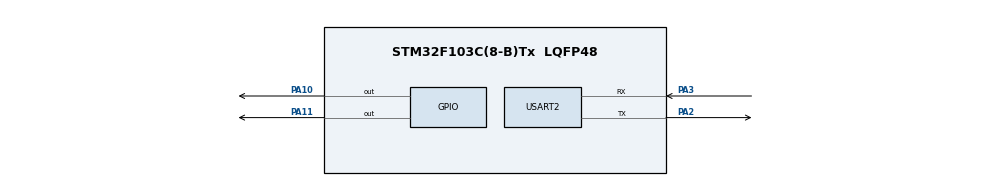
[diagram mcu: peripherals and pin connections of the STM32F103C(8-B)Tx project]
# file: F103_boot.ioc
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IWDG.Prescaler=IWDG_PRESCALER_64
Mcu.Family=STM32F1
Mcu.Name=STM32F103C(8-B)Tx
Mcu.Package=LQFP48
NVIC.PriorityGroup=NVIC_PRIORITYGROUP_4
PA10.Signal=GPIO_Output
PA11.Signal=GPIO_Output
PA13.Mode=Serial_Wire
PA13.Signal=SYS_JTMS-SWDIO
PA14.Mode=Serial_Wire
PA14.Signal=SYS_JTCK-SWCLK
PA2.Mode=Asynchronous
PA2.Signal=USART2_TX
PA3.Mode=Asynchronous
PA3.Signal=USART2_RX
PD0-OSC_IN.Mode=HSE-External-Oscillator
PD0-OSC_IN.Signal=RCC_OSC_IN
PD1-OSC_OUT.Mode=HSE-External-Oscillator
PD1-OSC_OUT.Signal=RCC_OSC_OUT
ProjectManager.HeapSize=0x200
ProjectManager.StackSize=0x400
ProjectManager.TargetToolchain=STM32CubeIDE
RCC.APB1Freq_Value=8000000
RCC.APB2Freq_Value=8000000
USART2.VirtualMode=VM_ASYNC
VP_IWDG_VS_IWDG.Mode=IWDG_Activate
board=custom

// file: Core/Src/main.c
/* USER CODE BEGIN Header */
/**
  ******************************************************************************
  * @file           : main.c
  * @brief          : Main program body
  ******************************************************************************
  * @attention
  *
  * Copyright (c) 2026 STMicroelectronics.
  * All rights reserved.
  *
  * This software is licensed under terms that can be found in the LICENSE file
  * in the root directory of this software component.
  * If no LICENSE file comes with this software, it is provided AS-IS.
  *
  ******************************************************************************
  */
/* USER CODE END Header */
#include "main.h"

IWDG_HandleTypeDef hiwdg;

UART_HandleTypeDef huart2;

void SystemClock_Config(void);
static void MX_GPIO_Init(void);
static void MX_USART2_UART_Init(void);
static void MX_IWDG_Init(void);

int main(void)
{

  /* MCU Configuration--------------------------------------------------------*/

  /* Reset of all peripherals, Initializes the Flash interface and the Systick. */
  HAL_Init();

  /* Configure the system clock */
  SystemClock_Config();

  /* Initialize all configured peripherals */
  MX_GPIO_Init();
  MX_USART2_UART_Init();

  /* USER CODE BEGIN 2 */

#if 1
  //promtping message whether to update the firmware or not
  uint8_t update=0;
  HAL_UART_Transmit(&huart2, (uint8_t*)"Press U to enter firmware update mode withing 3 sec for update\r\n"
		  	  	  	  , strlen("Press U to enter firmware update mode withing 3 sec for update\r\n"), 100);

  if(HAL_UART_Receive(&huart2, &update, 1, 3000)==HAL_OK)
  {
	  MX_IWDG_Init();
	  HAL_IWDG_Refresh(&hiwdg);
	  if(update=='U'||update=='u')
	  {
		  HAL_UART_Transmit(&huart2, (uint8_t*)"UPDATE MODE\r\n", strlen("UPDATE MODE\r\n"), 100);
		  Bootloader_UpdateMode();
	  }
  }

  HAL_UART_Transmit(&huart2, (uint8_t*)"veryfing application ... \r\n", strlen("veryfing application ... \r\n"), 100);

   int app_status = bootloader_is_app_valid();

   if (app_status == 0)
   {
       HAL_UART_Transmit(&huart2, (uint8_t*)"APPLICATION VALID - JUMPING\r\n", strlen("APPLICATION VALID - JUMPING\r\n"), 100);
       JumpToApplication();
   }
   else
   {
       char msg[60];
       sprintf(msg, "NO VALID APPLICATION (code %d) - staying in bootloader\r\n", app_status);
       HAL_UART_Transmit(&huart2, (uint8_t*)msg, strlen(msg), 100);
   }

//
//  HAL_UART_Transmit(&huart2, (uint8_t*)"veryfing application ... \r\n", strlen("veryfing application ... \r\n"), 100);
//  JumpToApplication();

#endif

  /* USER CODE END 2 */

  /* Infinite loop */
  /* USER CODE BEGIN WHILE */
  while (1)
  {
	  if (hiwdg.Instance != NULL)
	  	  {
		      HAL_IWDG_Refresh(&hiwdg);
		  }

	  HAL_GPIO_TogglePin(GPIOA, GPIO_PIN_10);
	  HAL_Delay(1000);
    /* USER CODE END WHILE */

  }
}

void SystemClock_Config(void)
{
  RCC_OscInitTypeDef RCC_OscInitStruct = {0};
  RCC_ClkInitTypeDef RCC_ClkInitStruct = {0};

  /** Initializes the RCC Oscillators according to the specified parameters
  * in the RCC_OscInitTypeDef structure.
  */
  RCC_OscInitStruct.OscillatorType = RCC_OSCILLATORTYPE_HSI|RCC_OSCILLATORTYPE_LSI;
  RCC_OscInitStruct.HSIState = RCC_HSI_ON;
  RCC_OscInitStruct.HSICalibrationValue = RCC_HSICALIBRATION_DEFAULT;
  RCC_OscInitStruct.LSIState = RCC_LSI_ON;
  RCC_OscInitStruct.PLL.PLLState = RCC_PLL_NONE;
  if (HAL_RCC_OscConfig(&RCC_OscInitStruct) != HAL_OK)
  {
    Error_Handler();
  }

  /** Initializes the CPU, AHB and APB buses clocks
  */
  RCC_ClkInitStruct.ClockType = RCC_CLOCKTYPE_HCLK|RCC_CLOCKTYPE_SYSCLK
                              |RCC_CLOCKTYPE_PCLK1|RCC_CLOCKTYPE_PCLK2;
  RCC_ClkInitStruct.SYSCLKSource = RCC_SYSCLKSOURCE_HSI;
  RCC_ClkInitStruct.AHBCLKDivider = RCC_SYSCLK_DIV1;
  RCC_ClkInitStruct.APB1CLKDivider = RCC_HCLK_DIV1;
  RCC_ClkInitStruct.APB2CLKDivider = RCC_HCLK_DIV1;

  if (HAL_RCC_ClockConfig(&RCC_ClkInitStruct, FLASH_LATENCY_0) != HAL_OK)
  {
    Error_Handler();
  }
}

static void MX_IWDG_Init(void)
{

  hiwdg.Instance = IWDG;
  hiwdg.Init.Prescaler = IWDG_PRESCALER_64;
  hiwdg.Init.Reload = 4095;
  if (HAL_IWDG_Init(&hiwdg) != HAL_OK)
  {
    Error_Handler();
  }

}

static void MX_USART2_UART_Init(void)
{

  huart2.Instance = USART2;
  huart2.Init.BaudRate = 115200;
  huart2.Init.WordLength = UART_WORDLENGTH_8B;
  huart2.Init.StopBits = UART_STOPBITS_1;
  huart2.Init.Parity = UART_PARITY_NONE;
  huart2.Init.Mode = UART_MODE_TX_RX;
  huart2.Init.HwFlowCtl = UART_HWCONTROL_NONE;
  huart2.Init.OverSampling = UART_OVERSAMPLING_16;
  if (HAL_UART_Init(&huart2) != HAL_OK)
  {
    Error_Handler();
  }

}

static void MX_GPIO_Init(void)
{
  GPIO_InitTypeDef GPIO_InitStruct = {0};

  /* GPIO Ports Clock Enable */
  __HAL_RCC_GPIOD_CLK_ENABLE();
  __HAL_RCC_GPIOA_CLK_ENABLE();

  /*Configure GPIO pin Output Level */
  HAL_GPIO_WritePin(GPIOA, GPIO_PIN_10|GPIO_PIN_11, GPIO_PIN_RESET);

  /*Configure GPIO pins : PA10 PA11 */
  GPIO_InitStruct.Pin = GPIO_PIN_10|GPIO_PIN_11;
  GPIO_InitStruct.Mode = GPIO_MODE_OUTPUT_PP;
  GPIO_InitStruct.Pull = GPIO_NOPULL;
  GPIO_InitStruct.Speed = GPIO_SPEED_FREQ_LOW;
  HAL_GPIO_Init(GPIOA, &GPIO_InitStruct);

}

void Error_Handler(void)
{
  __disable_irq();
  while (1)
  {
  }
}
